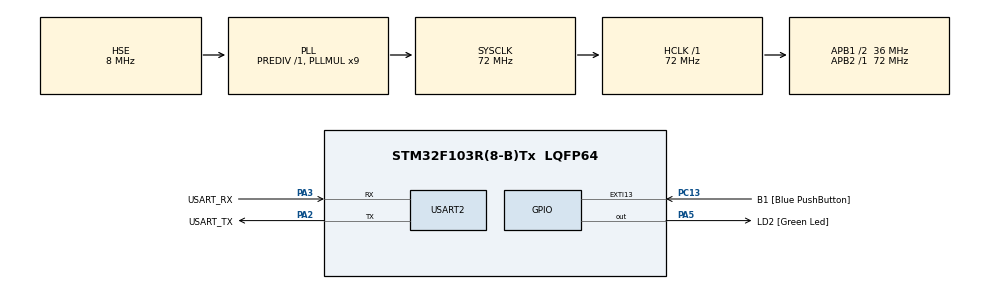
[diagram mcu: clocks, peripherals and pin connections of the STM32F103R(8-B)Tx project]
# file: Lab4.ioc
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Mcu.Family=STM32F1
Mcu.Name=STM32F103R(8-B)Tx
Mcu.Package=LQFP64
NVIC.EXTI15_10_IRQn=true\:0\:0\:false\:false\:true\:true\:true\:true
NVIC.PriorityGroup=NVIC_PRIORITYGROUP_4
NVIC.USART2_IRQn=true\:0\:0\:false\:false\:true\:true\:true\:true
PA13.GPIO_Label=TMS
PA13.Mode=Serial_Wire
PA13.Signal=SYS_JTMS-SWDIO
PA14.GPIO_Label=TCK
PA14.Mode=Serial_Wire
PA14.Signal=SYS_JTCK-SWCLK
PA2.GPIO_Label=USART_TX
PA2.GPIO_Mode=GPIO_MODE_AF_PP
PA2.GPIO_PuPd=GPIO_NOPULL
PA2.GPIO_Speed=GPIO_SPEED_FREQ_LOW
PA2.Mode=Asynchronous
PA2.Signal=USART2_TX
PA3.GPIO_Label=USART_RX
PA3.GPIO_Mode=GPIO_MODE_AF_PP
PA3.GPIO_PuPd=GPIO_NOPULL
PA3.GPIO_Speed=GPIO_SPEED_FREQ_LOW
PA3.Mode=Asynchronous
PA3.Signal=USART2_RX
PA5.GPIO_Label=LD2 [Green Led]
PA5.GPIO_ModeDefaultOutputPP=GPIO_MODE_OUTPUT_PP
PA5.GPIO_PuPd=GPIO_NOPULL
PA5.GPIO_Speed=GPIO_SPEED_FREQ_LOW
PA5.Signal=GPIO_Output
PB3.GPIO_Label=SWO
PB3.Signal=SYS_JTDO-TRACESWO
PC13-TAMPER-RTC.GPIO_Label=B1 [Blue PushButton]
PC13-TAMPER-RTC.GPIO_PuPd=GPIO_NOPULL
PC13-TAMPER-RTC.Signal=GPXTI13
PC14-OSC32_IN.Mode=LSE-External-Oscillator
PC14-OSC32_IN.Signal=RCC_OSC32_IN
PC15-OSC32_OUT.Mode=LSE-External-Oscillator
PC15-OSC32_OUT.Signal=RCC_OSC32_OUT
PD0-OSC_IN.Mode=HSE-External-Clock-Source
PD0-OSC_IN.Signal=RCC_OSC_IN
PD1-OSC_OUT.Mode=HSE-External-Clock-Source
PD1-OSC_OUT.Signal=RCC_OSC_OUT
ProjectManager.HeapSize=0x200
ProjectManager.StackSize=0x400
ProjectManager.TargetToolchain=STM32CubeIDE
RCC.AHBFreq_Value=72000000
RCC.APB1CLKDivider=RCC_HCLK_DIV2
RCC.APB1Freq_Value=36000000
RCC.APB1TimFreq_Value=72000000
RCC.APB2Freq_Value=72000000
RCC.APB2TimFreq_Value=72000000
RCC.HCLKFreq_Value=72000000
RCC.PLLMUL=RCC_PLL_MUL9
RCC.PLLSourceVirtual=RCC_PLLSOURCE_HSE
RCC.RTCClockSelection=RCC_RTCCLKSOURCE_LSE
RCC.SYSCLKFreq_VALUE=72000000
RCC.SYSCLKSource=RCC_SYSCLKSOURCE_PLLCLK
RCC.USBFreq_Value=72000000
TIM4.CounterMode=TIM_COUNTERMODE_DOWN
TIM4.Prescaler=0
USART2.VirtualMode=VM_ASYNC
VP_TIM4_VS_ClockSourceINT.Mode=Internal
board=NUCLEO-F103RB

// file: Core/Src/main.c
/* USER CODE BEGIN Header */
/**
  ******************************************************************************
  * @file           : main.c
  * @brief          : Main program body
  ******************************************************************************
  * @attention
  *
  * Copyright (c) 2024 STMicroelectronics.
  * All rights reserved.
  *
  * This software is licensed under terms that can be found in the LICENSE file
  * in the root directory of this software component.
  * If no LICENSE file comes with this software, it is provided AS-IS.
  *
  ******************************************************************************
  */
/* USER CODE END Header */
#include "main.h"

TIM_HandleTypeDef htim4;

UART_HandleTypeDef huart2;

/* USER CODE BEGIN PV */
uint8_t cliRXChar;
uint8_t cliBufferTX[30];
uint8_t cliBufferRX[30];
int counter = 0;
unsigned int seed = 0;

/* USER CODE END PV */

void SystemClock_Config(void);
static void MX_GPIO_Init(void);
static void MX_USART2_UART_Init(void);
static void MX_TIM4_Init(void);

int main(void)
{

  /* MCU Configuration--------------------------------------------------------*/

  /* Reset of all peripherals, Initializes the Flash interface and the Systick. */
  HAL_Init();

  /* Configure the system clock */
  SystemClock_Config();

  /* Initialize all configured peripherals */
  MX_GPIO_Init();
  MX_USART2_UART_Init();
  MX_TIM4_Init();
  /* USER CODE BEGIN 2 */
  HAL_TIM_Base_Start(&htim4);
  //run_test();
  HAL_UART_Receive_IT (&huart2, &cliRXChar, 1);

	int timerCounter = 0;
	char counterMessage[] = "counter ";
	char newLineMessage[] = "Enter a command: ";
	char scrollBox[] = "\x1b[5;r";
	char initialMoveCursor[] = "\x1b[5;0H";
	char topMoveCursor[] = "\x1b[0;9H";
	char saveCursor[] = "\x1b[s";
	char restoreCursor[] = "\x1b[u";
	char charTimerCounter[4];
	for(int x = 0; x < sizeof counterMessage; x++)
	  HAL_UART_Transmit(&huart2, (unsigned char *)&counterMessage[x], 1, 100);
	for(int x = 0; x < sizeof scrollBox; x++)
	  HAL_UART_Transmit(&huart2, (unsigned char *)&scrollBox[x], 1, 100);
	for(int x = 0; x < sizeof initialMoveCursor; x++)
	  HAL_UART_Transmit(&huart2, (unsigned char *)&initialMoveCursor[x], 1, 100);
	for(int x = 0; x < sizeof newLineMessage; x++)
		  HAL_UART_Transmit(&huart2, (unsigned char *)&newLineMessage[x], 1, 100);
  /* USER CODE END 2 */

  /* Infinite loop */
  while (1)
  {

    /* USER CODE BEGIN 3 */
	  HAL_Delay(1000);
	  sprintf (charTimerCounter, "%d", timerCounter);
	  for(int x = 0; x < sizeof saveCursor; x++)
		  HAL_UART_Transmit(&huart2, (unsigned char *)&saveCursor[x], 1, 100);
	  for(int x = 0; x < sizeof topMoveCursor; x++)
		  HAL_UART_Transmit(&huart2, (unsigned char *)&topMoveCursor[x], 1, 100);
	  for(int x = 0; x < sizeof charTimerCounter; x++)
		  HAL_UART_Transmit(&huart2, (unsigned char *)&charTimerCounter[x], 1, 100);
	  for(int x = 0; x < sizeof restoreCursor; x++)
		  HAL_UART_Transmit(&huart2, (unsigned char *)&restoreCursor[x], 1, 100);
	  timerCounter++;
	  seed++;
  }
  /* USER CODE END 3 */
}

void SystemClock_Config(void)
{
  RCC_OscInitTypeDef RCC_OscInitStruct = {0};
  RCC_ClkInitTypeDef RCC_ClkInitStruct = {0};

  /** Initializes the RCC Oscillators according to the specified parameters
  * in the RCC_OscInitTypeDef structure.
  */
  RCC_OscInitStruct.OscillatorType = RCC_OSCILLATORTYPE_HSE;
  RCC_OscInitStruct.HSEState = RCC_HSE_BYPASS;
  RCC_OscInitStruct.HSEPredivValue = RCC_HSE_PREDIV_DIV1;
  RCC_OscInitStruct.HSIState = RCC_HSI_ON;
  RCC_OscInitStruct.PLL.PLLState = RCC_PLL_ON;
  RCC_OscInitStruct.PLL.PLLSource = RCC_PLLSOURCE_HSE;
  RCC_OscInitStruct.PLL.PLLMUL = RCC_PLL_MUL9;
  if (HAL_RCC_OscConfig(&RCC_OscInitStruct) != HAL_OK)
  {
    Error_Handler();
  }

  /** Initializes the CPU, AHB and APB buses clocks
  */
  RCC_ClkInitStruct.ClockType = RCC_CLOCKTYPE_HCLK|RCC_CLOCKTYPE_SYSCLK
                              |RCC_CLOCKTYPE_PCLK1|RCC_CLOCKTYPE_PCLK2;
  RCC_ClkInitStruct.SYSCLKSource = RCC_SYSCLKSOURCE_PLLCLK;
  RCC_ClkInitStruct.AHBCLKDivider = RCC_SYSCLK_DIV1;
  RCC_ClkInitStruct.APB1CLKDivider = RCC_HCLK_DIV2;
  RCC_ClkInitStruct.APB2CLKDivider = RCC_HCLK_DIV1;

  if (HAL_RCC_ClockConfig(&RCC_ClkInitStruct, FLASH_LATENCY_2) != HAL_OK)
  {
    Error_Handler();
  }
}

static void MX_TIM4_Init(void)
{

  TIM_ClockConfigTypeDef sClockSourceConfig = {0};
  TIM_MasterConfigTypeDef sMasterConfig = {0};

  htim4.Instance = TIM4;
  htim4.Init.Prescaler = 0;
  htim4.Init.CounterMode = TIM_COUNTERMODE_DOWN;
  htim4.Init.Period = 65535;
  htim4.Init.ClockDivision = TIM_CLOCKDIVISION_DIV1;
  htim4.Init.AutoReloadPreload = TIM_AUTORELOAD_PRELOAD_DISABLE;
  if (HAL_TIM_Base_Init(&htim4) != HAL_OK)
  {
    Error_Handler();
  }
  sClockSourceConfig.ClockSource = TIM_CLOCKSOURCE_INTERNAL;
  if (HAL_TIM_ConfigClockSource(&htim4, &sClockSourceConfig) != HAL_OK)
  {
    Error_Handler();
  }
  sMasterConfig.MasterOutputTrigger = TIM_TRGO_RESET;
  sMasterConfig.MasterSlaveMode = TIM_MASTERSLAVEMODE_DISABLE;
  if (HAL_TIMEx_MasterConfigSynchronization(&htim4, &sMasterConfig) != HAL_OK)
  {
    Error_Handler();
  }

}

void HAL_UART_RxCpltCallback(UART_HandleTypeDef * husart)
{
	//uint8_t cliBufferRX[30];
	int isLED = 0;
	char newLineMessage[] = "Enter a command: ";
	char error[] = "Error: not a valid command. Type 'help' to see commands";
	char help[] = "'on': turns the led on 'off' turns the led off and 'status' tells you the state of the led 'test' runs speed tests";
	char status[] = "The LED is: ";
	char isOn[] = "on";
	char isOff[] = "off";
	//int counter = 0;
	char newLine = '\n';
	char cr = '\r';
	HAL_UART_Transmit(&huart2, (unsigned char *)&cliRXChar, 1, 100);

	if (cliRXChar == 0x0D)
	{
		HAL_UART_Transmit(&huart2, (unsigned char *)&newLine, 1, 100);
		if (cliBufferRX[0] == 'o' && cliBufferRX[1] == 'n')
		{
			HAL_GPIO_WritePin(GPIOA, GPIO_PIN_5, GPIO_PIN_SET);
			isLED = 1;
			cliRXChar = 0;
			counter = 0;
		}

		else if (cliBufferRX[0] == 'o' && cliBufferRX[1] == 'f' && cliBufferRX[2] == 'f')
		{
			HAL_GPIO_WritePin(GPIOA, GPIO_PIN_5, GPIO_PIN_RESET);
			isLED = 0;
			cliRXChar = 0;
			counter = 0;
		}
		else if (cliBufferRX[0] == 's' && cliBufferRX[1] == 't' && cliBufferRX[2] == 'a' && cliBufferRX[3] == 't' && cliBufferRX[4] == 'u' && cliBufferRX[5] == 's')
		{

			cliRXChar = 0;
			counter = 0;
			for(int x = 0; x < sizeof status; x++)
					HAL_UART_Transmit(&huart2, (unsigned char *)&status[x], 1, 100);
			if (isLED == 1)
			{
				for(int x = 0; x < sizeof isOn; x++)
					HAL_UART_Transmit(&huart2, (unsigned char *)&isOn[x], 1, 100);
			}
			else
			{
				for(int x = 0; x < sizeof isOff; x++)
					HAL_UART_Transmit(&huart2, (unsigned char *)&isOff[x], 1, 100);
			}
			HAL_UART_Transmit(&huart2, (unsigned char *)&newLine, 1, 100);
			HAL_UART_Transmit(&huart2, (unsigned char *)&newLine, 1, 100);
			HAL_UART_Transmit(&huart2, (unsigned char *)&cr, 1, 100);
		}
		else if (cliBufferRX[0] == 'h' && cliBufferRX[1] == 'e' && cliBufferRX[2] == 'l' && cliBufferRX[3] == 'p')
		{

			cliRXChar = 0;
			counter = 0;
			for(int x = 0; x < sizeof help; x++)
				HAL_UART_Transmit(&huart2, (unsigned char *)&help[x], 1, 100);
			HAL_UART_Transmit(&huart2, (unsigned char *)&newLine, 1, 100);
			HAL_UART_Transmit(&huart2, (unsigned char *)&newLine, 1, 100);
			HAL_UART_Transmit(&huart2, (unsigned char *)&cr, 1, 100);
		}
		else if (cliBufferRX[0] == 't' && cliBufferRX[1] == 'e' && cliBufferRX[2] == 's' && cliBufferRX[3] == 't')
		{
			cliRXChar = 0;
			counter = 0;
			run_test();
		}

		else
		{
			cliRXChar = 0;
			counter = 0;
			for(int x = 0; x < sizeof error; x++)
					HAL_UART_Transmit(&huart2, (unsigned char *)&error[x], 1, 100);
			HAL_UART_Transmit(&huart2, (unsigned char *)&newLine, 1, 100);
			HAL_UART_Transmit(&huart2, (unsigned char *)&newLine, 1, 100);
			HAL_UART_Transmit(&huart2, (unsigned char *)&cr, 1, 100);
		}
		for(int x = 0; x < sizeof newLineMessage; x++)
			HAL_UART_Transmit(&huart2, (unsigned char *)&newLineMessage[x], 1, 100);
		for(size_t i = 0; i < sizeof cliBufferRX; i++)
			cliBufferRX[i] = 0;
	}
	else if (cliRXChar == 0x7F)
	{
		counter --;
		cliBufferRX[counter] = 0;
		cliRXChar = 0;
	}
	else
	{
		cliBufferRX[counter] = cliRXChar;
		cliRXChar = 0;
		counter++;
	}

	while((HAL_UART_GetState(&huart2)&HAL_UART_STATE_BUSY_RX)==HAL_UART_STATE_BUSY_RX);
	//Listen for the interrupt and buffer one character at a time.
	HAL_UART_Receive_IT(&huart2, &cliRXChar ,1);
}

static void MX_USART2_UART_Init(void)
{

  huart2.Instance = USART2;
  huart2.Init.BaudRate = 115200;
  huart2.Init.WordLength = UART_WORDLENGTH_8B;
  huart2.Init.StopBits = UART_STOPBITS_1;
  huart2.Init.Parity = UART_PARITY_NONE;
  huart2.Init.Mode = UART_MODE_TX_RX;
  huart2.Init.HwFlowCtl = UART_HWCONTROL_NONE;
  huart2.Init.OverSampling = UART_OVERSAMPLING_16;
  if (HAL_UART_Init(&huart2) != HAL_OK)
  {
    Error_Handler();
  }

}

static void MX_GPIO_Init(void)
{
  GPIO_InitTypeDef GPIO_InitStruct = {0};

  /* GPIO Ports Clock Enable */
  __HAL_RCC_GPIOC_CLK_ENABLE();
  __HAL_RCC_GPIOD_CLK_ENABLE();
  __HAL_RCC_GPIOA_CLK_ENABLE();
  __HAL_RCC_GPIOB_CLK_ENABLE();

  /*Configure GPIO pin Output Level */
  HAL_GPIO_WritePin(LD2_GPIO_Port, LD2_Pin, GPIO_PIN_RESET);

  /*Configure GPIO pin : B1_Pin */
  GPIO_InitStruct.Pin = B1_Pin;
  GPIO_InitStruct.Mode = GPIO_MODE_IT_RISING;
  GPIO_InitStruct.Pull = GPIO_NOPULL;
  HAL_GPIO_Init(B1_GPIO_Port, &GPIO_InitStruct);

  /*Configure GPIO pin : LD2_Pin */
  GPIO_InitStruct.Pin = LD2_Pin;
  GPIO_InitStruct.Mode = GPIO_MODE_OUTPUT_PP;
  GPIO_InitStruct.Pull = GPIO_NOPULL;
  GPIO_InitStruct.Speed = GPIO_SPEED_FREQ_LOW;
  HAL_GPIO_Init(LD2_GPIO_Port, &GPIO_InitStruct);

  /* EXTI interrupt init*/
  HAL_NVIC_SetPriority(EXTI15_10_IRQn, 0, 0);
  HAL_NVIC_EnableIRQ(EXTI15_10_IRQn);

}

void Error_Handler(void)
{
  __disable_irq();
  while (1)
  {
  }
}
